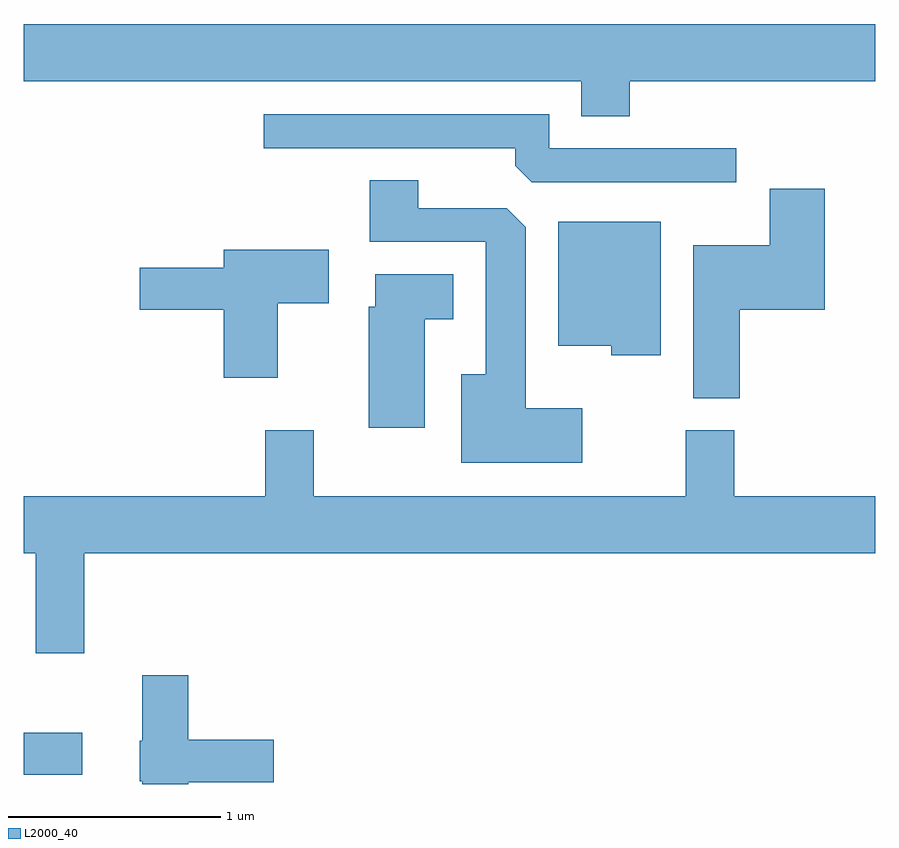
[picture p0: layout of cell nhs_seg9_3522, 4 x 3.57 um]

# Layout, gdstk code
import gdstk
lib = gdstk.Library(unit=1e-6, precision=1e-09)
def R(c, l, rs):  # rectangles x0, y0, x1, y1
    for r in rs: c.add(gdstk.rectangle(r[:2], r[2:], *l))
def P(c, l, *ps):  # polygons
    for p in ps: c.add(gdstk.Polygon(p, *l))
L2000_40 = (2000, 40)

nhs_seg9_3522 = lib.new_cell('nhs_seg9_3522')
R(nhs_seg9_3522, L2000_40, [(287.611,2068.476,287.884,2068.674)])
P(nhs_seg9_3522, L2000_40, [(290.459,2071.736),(291.611,2071.736),(291.611,2072.004),(287.611,2072.004),(287.611,2071.736),(290.231,2071.736),(290.231,2071.571),(290.459,2071.571)],
  [(290.958,2071.419),(290.079,2071.419),(290.079,2071.579),(288.738,2071.579),(288.738,2071.421),(289.921,2071.421),(289.921,2071.337),(289.997,2071.261),(290.958,2071.261)],
  [(290.234,2070.199),(289.969,2070.199),(289.969,2071.048),(289.879,2071.139),(289.464,2071.139),(289.464,2071.269),(289.236,2071.269),(289.236,2070.981),(289.781,2070.981),(289.781,2070.359),(289.666,2070.359),(289.666,2069.941),(290.234,2069.941)],
  [(290.974,2070.661),(291.374,2070.661),(291.374,2071.229),(291.116,2071.229),(291.116,2070.964),(290.756,2070.964),(290.756,2070.246),(290.974,2070.246)],
  [(290.604,2071.074),(290.121,2071.074),(290.121,2070.491),(290.371,2070.491),(290.371,2070.446),(290.604,2070.446)],
  [(288.804,2070.691),(289.044,2070.691),(289.044,2070.944),(288.551,2070.944),(288.551,2070.859),(288.156,2070.859),(288.156,2070.661),(288.551,2070.661),(288.551,2070.341),(288.804,2070.341)],
  [(289.494,2070.616),(289.629,2070.616),(289.629,2070.829),(289.261,2070.829),(289.261,2070.674),(289.231,2070.674),(289.231,2070.106),(289.494,2070.106)],
  [(287.894,2069.516),(291.611,2069.516),(291.611,2069.784),(290.949,2069.784),(290.949,2070.094),(290.721,2070.094),(290.721,2069.784),(288.974,2069.784),(288.974,2070.094),(288.746,2070.094),(288.746,2069.784),(287.611,2069.784),(287.611,2069.516),(287.666,2069.516),(287.666,2069.046),(287.894,2069.046)],
  [(288.384,2068.441),(288.784,2068.441),(288.784,2068.639),(288.384,2068.639),(288.384,2068.944),(288.166,2068.944),(288.166,2068.635),(288.156,2068.635),(288.156,2068.445),(288.166,2068.445),(288.166,2068.432),(288.384,2068.432)])

lib.write_gds('nhs_seg9_3522.gds')
